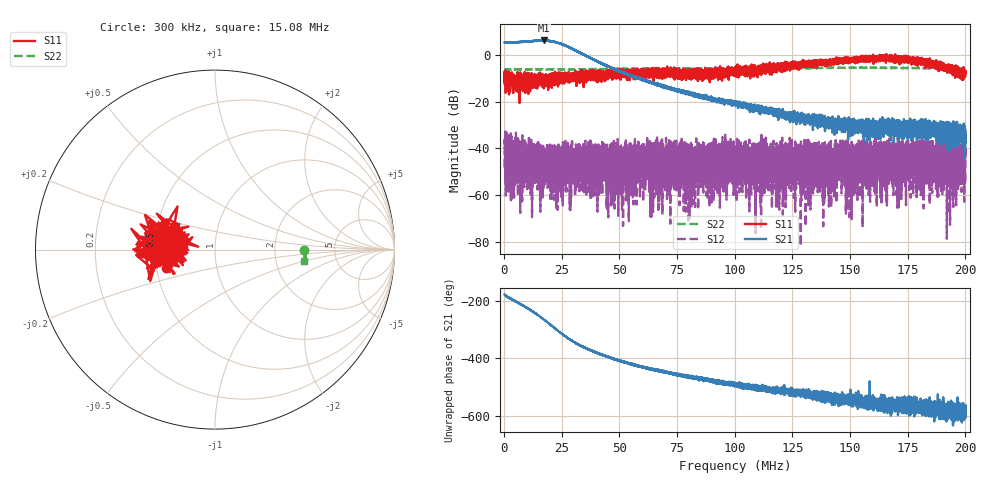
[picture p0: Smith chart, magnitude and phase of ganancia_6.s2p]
# Hz S DB R 50
! CMT, M5065, 19127446, 24.2.4/2
! Date: 10/29/2024 1:04:59 PM
! Data: Format (Calibration Info)
! Freq	S11:dB/Ang(F2)	S21:dB/Ang(F2)	S12:dB/Ang(F2)	S22:dB/Ang(F2)
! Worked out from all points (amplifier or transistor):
!   9000 points, 300 kHz to 200 MHz, reference 50 ohm
!   highest |S21| = 6.4 dB at 17.39 MHz (marker M1)
!   |S21| within 3 dB of that: start of sweep to 28.36 MHz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
!   unconditionally stable (mu >= 1): start of sweep to 160.1 MHz; 160.1 MHz to 162.7 MHz; 169.6 MHz to end of sweep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
!   at 33.59 MHz: K = 37.72, MAG = 2.7 dB, |S12| = -42.0 dB
!   at 100.2 MHz: K = 329.14, MAG = -18.4 dB, |S12| = -40.3 dB
!   at 200 MHz: K = 3693.49, MAG = -34.9 dB, |S12| = -44.8 dB
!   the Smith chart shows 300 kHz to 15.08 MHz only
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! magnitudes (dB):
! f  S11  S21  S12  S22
! 300 kHz  -10.6  5.6  -48.2  -6.0
! 1.964 MHz  -9.8  5.6  -38.5  -6.0
! 4.028 MHz  -12.4  5.6  -37.5  -6.0
! 17.39 MHz  -12.5  6.4  -41.5  -6.0
! 33.59 MHz  -9.4  0.8  -42.0  -5.9
! 54.89 MHz  -8.7  -8.5  -42.0  -5.8
! 62.28 MHz  -6.9  -11.4  -50.5  -5.8
! 66.87 MHz  -8.5  -12.5  -66.4  -5.8
! 73.29 MHz  -6.8  -14.4  -41.5  -5.8
! 80.06 MHz  -8.2  -16.4  -44.5  -5.8
! 81.37 MHz  -6.0  -16.7  -37.7  -5.7
! 86.11 MHz  -7.1  -17.9  -41.4  -5.7
! 89 MHz  -7.4  -18.5  -45.0  -5.7
! 92.57 MHz  -6.4  -18.8  -59.8  -5.7
! 100.2 MHz  -6.7  -20.9  -40.3  -5.7
! 133.4 MHz  -3.5  -26.4  -50.4  -5.4
! 142.7 MHz  -2.3  -28.5  -40.3  -5.4
! 146.7 MHz  -2.6  -28.6  -42.7  -5.4
! 166.7 MHz  -1.9  -27.4  -46.6  -5.4
! 176.2 MHz  -1.7  -33.6  -49.0  -5.4
! 194.9 MHz  -5.9  -31.7  -47.3  -5.5
! 200 MHz  -7.0  -37.3  -44.8  -5.5
